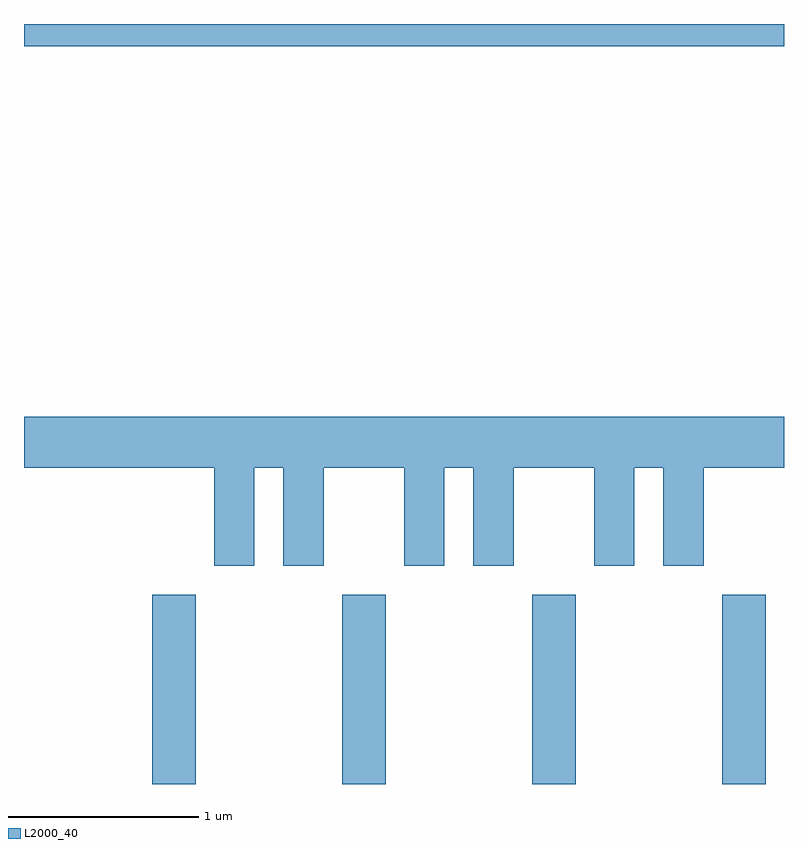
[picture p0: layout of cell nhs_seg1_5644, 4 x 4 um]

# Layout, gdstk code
import gdstk
lib = gdstk.Library(unit=1e-6, precision=1e-09)
def R(c, l, rs):  # rectangles x0, y0, x1, y1
    for r in rs: c.add(gdstk.rectangle(r[:2], r[2:], *l))
def A(c, l, x, y, w, h, nx, ny, dx, dy):  # array of equal rectangles
    R(c, l, [(x+i*dx, y+j*dy, x+i*dx+w, y+j*dy+h) for i in range(nx) for j in range(ny)])
def P(c, l, *ps):  # polygons
    for p in ps: c.add(gdstk.Polygon(p, *l))
L2000_40 = (2000, 40)

nhs_seg1_5644 = lib.new_cell('nhs_seg1_5644')
A(nhs_seg1_5644, L2000_40, 356.286, 875.712, 0.228, 0.997, 4, 1, 1, 0)
R(nhs_seg1_5644, L2000_40, [(355.611,879.596,359.611,879.712)])
P(nhs_seg1_5644, L2000_40, [(356.824,877.376),(356.976,877.376),(356.976,876.861),(357.189,876.861),(357.189,877.376),(357.611,877.376),(357.611,876.861),(357.824,876.861),(357.824,877.376),(357.976,877.376),(357.976,876.861),(358.189,876.861),(358.189,877.376),(358.611,877.376),(358.611,876.861),(358.824,876.861),(358.824,877.376),(358.976,877.376),(358.976,876.861),(359.189,876.861),(359.189,877.376),(359.611,877.376),(359.611,877.644),(355.611,877.644),(355.611,877.376),(356.611,877.376),(356.611,876.861),(356.824,876.861)])

lib.write_gds('nhs_seg1_5644.gds')
